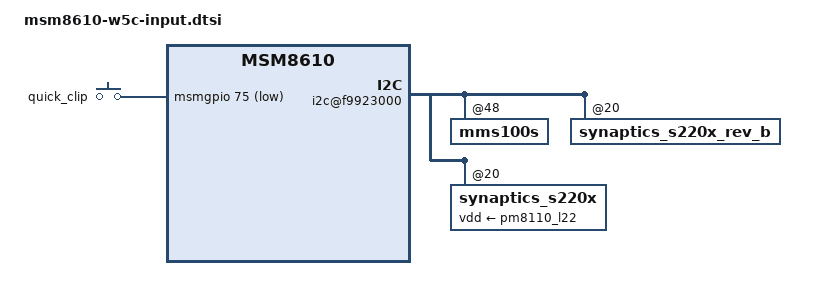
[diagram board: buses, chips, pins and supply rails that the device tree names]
/* Copyright (c) 2012, Code Aurora Forum. All rights reserved.
 *
 * This program is free software; you can redistribute it and/or modify
 * it under the terms of the GNU General Public License version 2 and
 * only version 2 as published by the Free Software Foundation.
 *
 * This program is distributed in the hope that it will be useful,
 * but WITHOUT ANY WARRANTY; without even the implied warranty of
 * MERCHANTABILITY or FITNESS FOR A PARTICULAR PURPOSE.  See the
 * GNU General Public License for more details.
 */

&soc {
	gpio_keys{
		quick_clip{
			label = "quick_clip";
			gpios = <&msmgpio 75 0x1>;
			linux,input-type = <1>;
			linux,code = <250>;
			gpio-key,wakeup;
			debounce-interval = <15>;
		};
	};
	i2c@f9923000{
		mms100s@48 {
			melfas,product = "I2S45B";
			melfas,max-x = <480>;
			melfas,max-y = <800>;
                        melfas,use_vdd_i2c = <1>;
			melfas,gpio-vdd-en = <62>;
			melfas,key-map = <158 139>;
			melfas,fw-image-name = "melfas/w5c_acg_us/w5c_acg_us_rev_b_v101.mfsb";
			status = "ok";
			revision = "rev_a";
		};
		synaptics_red@20 {
			status = "disable";
			revision = "rev_b...";
			synaptics,button-map = <158 139>;
			synaptics,gpio_vdd_en  = <82>;
		};
		
		synaptics_s220x_rev_b@20 {
			status = "ok";
			revision = "rev_b";
			synaptics,fw_version_info = <0x32 0x04 0x51>;
			lge,knock_on_type = <1>;
			synaptics,fw_image = "synaptics/w5c_acg_us/PLG317-T015-PR1592889-DS4.3.5.1.16-3204510F.img";
			synaptics,panel_spec = "synaptics/w5c_acg_us/w5c_acg_us_limit.txt";
			synaptics,global_access_pixel = <10>;
			synaptics,platform_data	{
				/*Caps*/
				panel_type = <5>;
				/* maker_id disable(0), enable(1) */
				maker_id = <1>;
				maker_id_gpio = <76>;
				number_of_button = <2>;
				button_name = [9e 8b];
				x_max = <960>;
				y_max = <1600>;
				gpio_vdd_en = <82>;
				use_vio_regulator = <1>;
				lcd_x = <480>;
				lcd_y = <800>;
				ghost_detection_enable=<1>;
				ghost_detection_jitter_value=<10>;
			};
		};
		
		synaptics_s220x@20 {
			status = "ok";
			revision = "rev_c...";
			synaptics,fw_version_info = <0x32 0x04 0x51>;
			lge,knock_on_type = <1>;
			vdd-supply = <&pm8110_l22>;
			synaptics,fw_image = "synaptics/w5c_acg_us/PLG317-T015-PR1592889-DS4.3.5.1.16-3204510F.img";
			synaptics,platform_data	{
				/*Caps*/
				panel_type = <5>;
				/* maker_id disable(0), enable(1) */
				maker_id = <1>;
				maker_id_gpio = <76>;
				number_of_button = <2>;
				button_name = [9e 8b];
				x_max = <960>;
				y_max = <1600>;
				lcd_x = <480>;
				lcd_y = <800>;
				use_regulator = <1>;
				vdd_voltage = <3000000>;
				palm_detect_mode=<1>;
				ghost_detection_enable=<1>;
				ghost_detection_jitter_value=<10>;
			};
		};
	};
};
